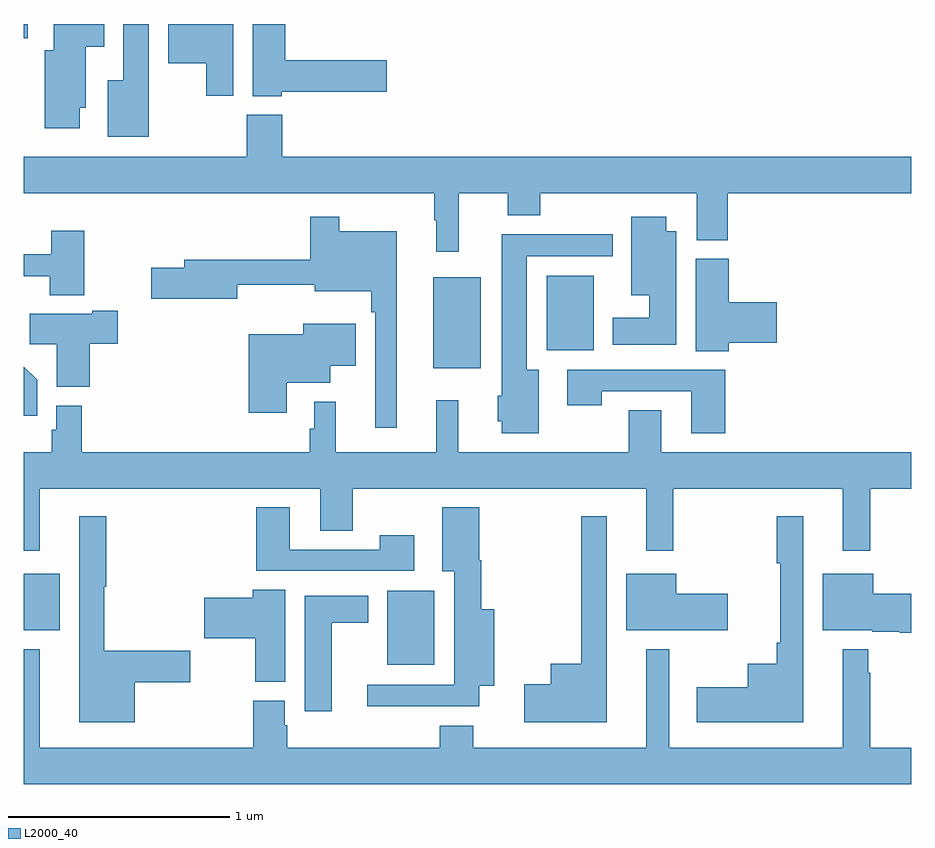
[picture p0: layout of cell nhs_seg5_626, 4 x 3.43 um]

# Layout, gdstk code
import gdstk
lib = gdstk.Library(unit=1e-6, precision=1e-09)
def R(c, l, rs):  # rectangles x0, y0, x1, y1
    for r in rs: c.add(gdstk.rectangle(r[:2], r[2:], *l))
def P(c, l, *ps):  # polygons
    for p in ps: c.add(gdstk.Polygon(p, *l))
L2000_40 = (2000, 40)

nhs_seg5_626 = lib.new_cell('nhs_seg5_626')
R(nhs_seg5_626, L2000_40, [(150.638,911.909,150.85,912.244), (149,912.065,149.161,912.319), (150.845,913.247,151.06,913.657), (151.358,913.328,151.57,913.663), (149,914.734,149.017,914.799)])
P(nhs_seg5_626, L2000_40, [(150.162,914.494),(150.637,914.494),(150.637,914.636),(150.179,914.636),(150.179,914.799),(150.032,914.799),(150.032,914.474),(150.162,914.474)],
  [(149.944,914.799),(149.651,914.799),(149.651,914.621),(149.822,914.621),(149.822,914.475),(149.944,914.475)],
  [(149.251,914.421),(149.278,914.421),(149.278,914.696),(149.362,914.696),(149.362,914.799),(149.135,914.799),(149.135,914.68),(149.093,914.68),(149.093,914.328),(149.251,914.328)],
  [(149.563,914.799),(149.447,914.799),(149.447,914.545),(149.378,914.545),(149.378,914.291),(149.563,914.291)],
  [(150.96,914.036),(151.181,914.036),(151.181,913.937),(151.329,913.937),(151.329,914.036),(152.033,914.036),(152.033,913.825),(152.174,913.825),(152.174,914.036),(153,914.036),(153,914.2),(150.164,914.2),(150.164,914.389),(150.004,914.389),(150.004,914.2),(149,914.2),(149,914.036),(150.849,914.036),(150.849,913.913),(150.86,913.913),(150.86,913.773),(150.96,913.773)],
  [(150.682,913.864),(150.421,913.864),(150.421,913.93),(150.292,913.93),(150.292,913.735),(149.723,913.735),(149.723,913.701),(149.574,913.701),(149.574,913.559),(149.962,913.559),(149.962,913.624),(150.311,913.624),(150.311,913.595),(150.565,913.595),(150.565,913.499),(150.585,913.499),(150.585,912.978),(150.682,912.978)],
  [(151.942,913.864),(151.897,913.864),(151.897,913.93),(151.739,913.93),(151.739,913.577),(151.82,913.577),(151.82,913.474),(151.655,913.474),(151.655,913.352),(151.942,913.352)],
  [(149.271,913.867),(149.123,913.867),(149.123,913.761),(149,913.761),(149,913.662),(149.116,913.662),(149.116,913.577),(149.271,913.577)],
  [(151.321,913.24),(151.267,913.24),(151.267,913.752),(151.654,913.752),(151.654,913.85),(151.154,913.85),(151.154,913.122),(151.136,913.122),(151.136,913.008),(151.154,913.008),(151.154,912.954),(151.321,912.954)],
  [(152.177,913.361),(152.395,913.361),(152.395,913.544),(152.177,913.544),(152.177,913.74),(152.03,913.74),(152.03,913.324),(152.177,913.324)],
  [(149.297,913.358),(149.422,913.358),(149.422,913.505),(149.309,913.505),(149.309,913.492),(149.026,913.492),(149.026,913.354),(149.147,913.354),(149.147,913.163),(149.297,913.163)],
  [(150.184,913.181),(150.382,913.181),(150.382,913.259),(150.496,913.259),(150.496,913.447),(150.26,913.447),(150.26,913.399),(150.014,913.399),(150.014,913.047),(150.184,913.047)],
  [(149.06,913.194),(149,913.254),(149,913.032),(149.06,913.032)],
  [(152.162,913.239),(151.449,913.239),(151.449,913.08),(151.605,913.08),(151.605,913.143),(152.009,913.143),(152.009,912.954),(152.162,912.954)],
  [(149.071,912.704),(150.335,912.704),(150.335,912.514),(150.483,912.514),(150.483,912.704),(151.805,912.704),(151.805,912.423),(151.927,912.423),(151.927,912.704),(152.693,912.704),(152.693,912.423),(152.815,912.423),(152.815,912.704),(153,912.704),(153,912.868),(151.873,912.868),(151.873,913.058),(151.726,913.058),(151.726,912.868),(150.958,912.868),(150.958,913.102),(150.86,913.102),(150.86,912.868),(150.407,912.868),(150.407,913.096),(150.309,913.096),(150.309,912.975),(150.289,912.975),(150.289,912.868),(149.261,912.868),(149.261,913.078),(149.145,913.078),(149.145,912.969),(149.125,912.969),(149.125,912.868),(149,912.868),(149,912.423),(149.071,912.423)],
  [(150.76,912.493),(150.604,912.493),(150.604,912.429),(150.199,912.429),(150.199,912.619),(150.047,912.619),(150.047,912.333),(150.76,912.333)],
  [(151.054,911.816),(151.12,911.816),(151.12,912.16),(151.062,912.16),(151.062,912.381),(151.054,912.381),(151.054,912.619),(150.887,912.619),(150.887,912.332),(150.941,912.332),(150.941,911.82),(150.549,911.82),(150.549,911.723),(151.054,911.723)],
  [(152.515,912.58),(152.394,912.58),(152.394,912.367),(152.411,912.367),(152.411,912.01),(152.394,912.01),(152.394,911.914),(152.264,911.914),(152.264,911.809),(152.034,911.809),(152.034,911.651),(152.515,911.651)],
  [(149.5,911.83),(149.749,911.83),(149.749,911.972),(149.363,911.972),(149.363,912.261),(149.371,912.261),(149.371,912.58),(149.249,912.58),(149.249,911.651),(149.5,911.651)],
  [(151.627,912.58),(151.513,912.58),(151.513,911.914),(151.376,911.914),(151.376,911.822),(151.257,911.822),(151.257,911.651),(151.627,911.651)],
  [(152.173,912.231),(151.942,912.231),(151.942,912.319),(151.715,912.319),(151.715,912.065),(152.173,912.065)],
  [(153,912.231),(152.83,912.231),(152.83,912.319),(152.603,912.319),(152.603,912.065),(152.826,912.065),(152.826,912.059),(152.948,912.059),(152.948,912.053),(153,912.053)],
  [(150.178,912.248),(150.032,912.248),(150.032,912.212),(149.814,912.212),(149.814,912.029),(150.044,912.029),(150.044,911.833),(150.178,911.833)],
  [(150.388,912.098),(150.553,912.098),(150.553,912.22),(150.266,912.22),(150.266,911.7),(150.388,911.7)],
  [(153,911.536),(152.815,911.536),(152.815,911.873),(152.807,911.873),(152.807,911.98),(152.693,911.98),(152.693,911.536),(151.909,911.536),(151.909,911.98),(151.805,911.98),(151.805,911.536),(151.027,911.536),(151.027,911.635),(150.875,911.635),(150.875,911.536),(150.188,911.536),(150.188,911.637),(150.175,911.637),(150.175,911.748),(150.035,911.748),(150.035,911.536),(149.071,911.536),(149.071,911.98),(149,911.98),(149,911.372),(153,911.372)])

lib.write_gds('nhs_seg5_626.gds')
